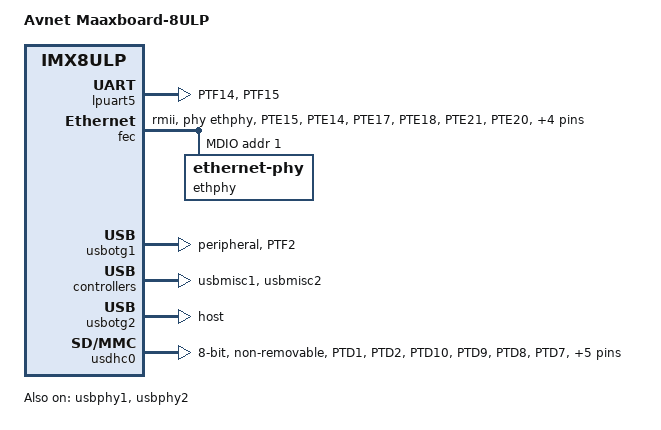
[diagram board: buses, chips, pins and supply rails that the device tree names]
/*
 * Copyright 2022 AVNET
 *
 * This program is free software; you can redistribute it and/or
 * modify it under the terms of the GNU General Public License
 * as published by the Free Software Foundation; either version 2
 * of the License, or (at your option) any later version.
 *
 * This program is distributed in the hope that it will be useful,
 * but WITHOUT ANY WARRANTY; without even the implied warranty of
 * MERCHANTABILITY or FITNESS FOR A PARTICULAR PURPOSE.  See the
 * GNU General Public License for more details.
 */

/dts-v1/;

#include "imx8ulp.dtsi"

/ {
	model = "Avnet Maaxboard-8ULP";
	compatible = "avnet,maaxboard-8ulp", "fsl,imx8ulp";

	chosen {
		stdout-path = &lpuart5;
		bootargs = "console=ttyLP1,115200 earlycon";
	};

	reserved-memory {
		#address-cells = <2>;
		#size-cells = <2>;
		ranges;

		linux,cma {
			compatible = "shared-dma-pool";
			reusable;
			size = <0 0x28000000>;
			linux,cma-default;
		};

	};
};

&lpuart5 {
	/* console */
	pinctrl-names = "default", "sleep";
	pinctrl-0 = <&pinctrl_lpuart5>;
	pinctrl-1 = <&pinctrl_lpuart5>;
	status = "okay";
};

&clock_ext_ts {
	/* External ts clock is 50MHZ from PHY on EVK board. */
	clock-frequency = <50000000>;
};

&fec {
	pinctrl-names = "default";
	pinctrl-0 = <&pinctrl_enet>;
	assigned-clocks = <&cgc1 IMX8ULP_CLK_ENET_TS_SEL>;
	assigned-clock-parents = <&clock_ext_ts>;
	phy-mode = "rmii";
	phy-handle = <&ethphy>;
	status = "okay";

	mdio {
		#address-cells = <1>;
		#size-cells = <0>;

		ethphy: ethernet-phy {
			reg = <1>;
			micrel,led-mode = <1>;
		};
	};
};

&usbotg1 {
	pinctrl-names = "default";
	pinctrl-0 = <&pinctrl_otgid1>;
	dr_mode = "peripheral";
	status = "okay";
};

&usbphy1 {
	status = "okay";
};

&usbmisc1 {
	status = "okay";
};

&usbotg2 {
	dr_mode = "host";
	status = "okay";
};

&usbphy2 {
	status = "okay";
};

&usbmisc2 {
	status = "okay";
};

&usdhc0 {
	pinctrl-names = "default", "state_100mhz", "state_200mhz", "sleep";
	pinctrl-0 = <&pinctrl_usdhc0>;
	pinctrl-1 = <&pinctrl_usdhc0>;
	pinctrl-2 = <&pinctrl_usdhc0>;
	pinctrl-3 = <&pinctrl_usdhc0>;
	non-removable;
	bus-width = <8>;
	status = "okay";
};

&iomuxc1 {
	pinctrl_enet: enetgrp {
		fsl,pins = <
			MX8ULP_PAD_PTE15__ENET0_MDC     0x43
			MX8ULP_PAD_PTE14__ENET0_MDIO    0x43
			MX8ULP_PAD_PTE17__ENET0_RXER    0x43
			MX8ULP_PAD_PTE18__ENET0_CRS_DV  0x43
			MX8ULP_PAD_PTE21__ENET0_RXD0    0x43
			MX8ULP_PAD_PTE20__ENET0_RXD1    0x43
			MX8ULP_PAD_PTE16__ENET0_TXEN    0x43
			MX8ULP_PAD_PTE23__ENET0_TXD0    0x43
			MX8ULP_PAD_PTE22__ENET0_TXD1    0x43
			MX8ULP_PAD_PTE19__ENET0_REFCLK  0x43
		>;
	};

	pinctrl_lpuart5: lpuart5grp {
		fsl,pins = <
			MX8ULP_PAD_PTF14__LPUART5_TX	0x3
			MX8ULP_PAD_PTF15__LPUART5_RX	0x3
		>;
	};

	pinctrl_otgid1: usb1grp {
		fsl,pins = <
			MX8ULP_PAD_PTF2__USB0_ID	0x10003
		>;
	};

	pinctrl_usdhc0: usdhc0grp {
		fsl,pins = <
			MX8ULP_PAD_PTD1__SDHC0_CMD	0x3
			MX8ULP_PAD_PTD2__SDHC0_CLK	0x10002
			MX8ULP_PAD_PTD10__SDHC0_D0	0x3
			MX8ULP_PAD_PTD9__SDHC0_D1	0x3
			MX8ULP_PAD_PTD8__SDHC0_D2	0x3
			MX8ULP_PAD_PTD7__SDHC0_D3	0x3
			MX8ULP_PAD_PTD6__SDHC0_D4	0x3
			MX8ULP_PAD_PTD5__SDHC0_D5	0x3
			MX8ULP_PAD_PTD4__SDHC0_D6	0x3
			MX8ULP_PAD_PTD3__SDHC0_D7	0x3
			MX8ULP_PAD_PTD11__SDHC0_DQS	0x10002
		>;
	};
};
